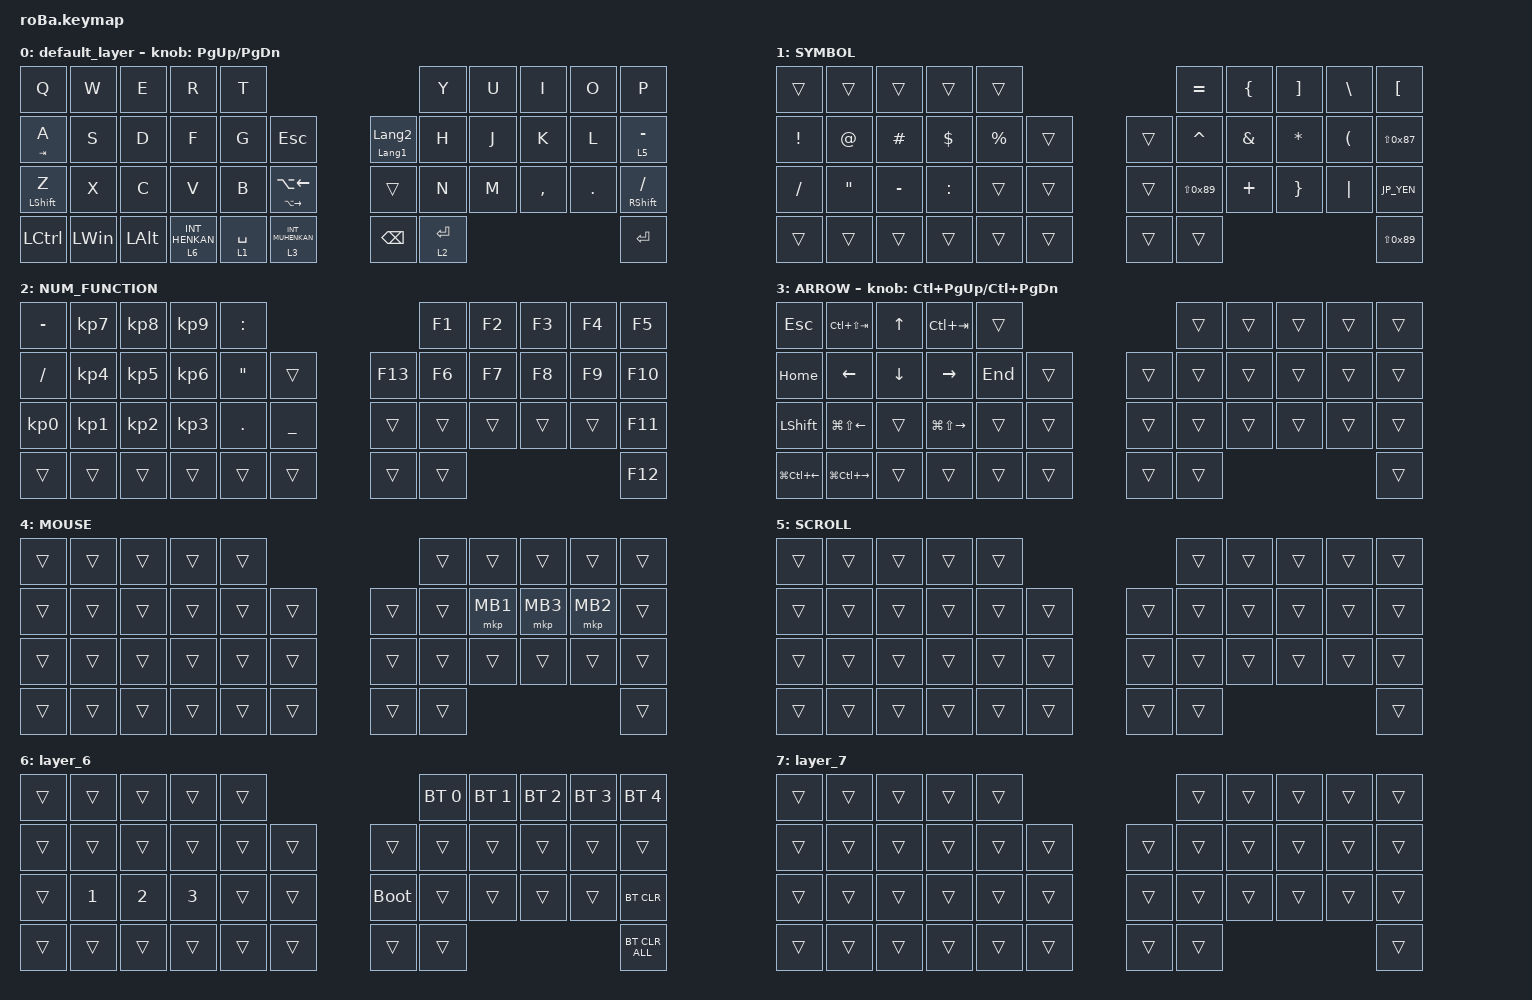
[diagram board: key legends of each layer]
#include <behaviors.dtsi>
#include <dt-bindings/zmk/bt.h>
#include <dt-bindings/zmk/keys.h>
#include <dt-bindings/zmk/pointing.h>

#define JP_DQUOTE       AT                // "
#define JP_AMPERSAND    CARET             // &
#define JP_QUOTE        AMPERSAND         // '
#define JP_EQUAL        UNDER             // =
#define JP_CARET        EQUAL             // ^
#define JP_YEN          0x89              // ¥
#define JP_PLUS         COLON             // +
#define JP_TILDE        PLUS              // ~
#define JP_PIPE         LS(0x89)          // |
#define JP_AT           LEFT_BRACKET      // @
#define JP_COLON        SINGLE_QUOTE      // :
#define JP_ASTERISK     DOUBLE_QUOTES     // *
#define JP_BACKQUOTE    LEFT_BRACE        // `
#define JP_UNDERSCORE   LS(0x87)          // _
#define JP_LBRACKET     RIGHT_BRACKET     // [
#define JP_RBRACKET     BACKSLASH         // ]
#define JP_LPAREN       ASTERISK          // (
#define JP_RPAREN       LEFT_PARENTHESIS  // )
#define JP_LBRACE       RIGHT_BRACE       // {
#define JP_RBRACE       PIPE              // }
#define JP_KANA         LANGUAGE_1        // かな
#define JP_EISU         LANGUAGE_2        // 英数
#define JP_HANZEN       GRAVE             // 半角/全角

&mt {
    flavor = "balanced";
    quick-tap-ms = <0>;
    require-prior-idle-ms = <200>;
    tapping-term-ms = <250>;
};

&trackball {
    automouse-layer = <4>;
    scroll-layers = <5>;

    // arrows {
    //     layers = <3>;
    //     bindings =
    //         <&kp RIGHT_ARROW>,
    //         <&kp LEFT_ARROW>,
    //         <&kp UP_ARROW>,
    //         <&kp DOWN_ARROW>;
    //     tick = <10>;
    //     wait-ms = <5>;
    //     tap-ms = <5>;
    // };
};

/ {
    combos {
        compatible = "zmk,combos";

        shift_tab {
            bindings = <&kp BACKSPACE>;
            key-positions = <12 13>;
        };

        escape {
            bindings = <&kp ESCAPE>;
            key-positions = <1 2>;
        };

        Delete {
            bindings = <&kp DELETE>;
            key-positions = <18 19>;
        };

        ABC {
            bindings = <&kp LANGUAGE_2>;
            key-positions = <23 24>;
        };

        JAPANESE {
            bindings = <&kp LANGUAGE_1>;
            key-positions = <31 32>;
        };
    };

    macros {
        to_layer_0: to_layer_0 {
            compatible = "zmk,behavior-macro-one-param";
            #binding-cells = <1>;
            bindings = <&to 0 &macro_param_1to1 &kp MACRO_PLACEHOLDER>;
            label = "TO_LAYER_0";
        };
    };

    behaviors {
        lt_to_layer_0: lt_to_layer_0 {
            compatible = "zmk,behavior-hold-tap";
            label = "LAYER_TAP_TO_0";
            bindings = <&mo>, <&to_layer_0>;

            #binding-cells = <2>;
            tapping-term-ms = <200>;
        };
    };

    keymap {
        compatible = "zmk,keymap";

        default_layer {
            bindings = <
&kp Q             &kp W         &kp E         &kp R                        &kp T                                                                      &kp Y        &kp U  &kp I      &kp O    &kp P
&mt TAB A         &kp S         &kp D         &kp F                        &kp G        &kp ESCAPE                         &mt LANGUAGE_1 LANGUAGE_2  &kp H        &kp J  &kp K      &kp L    &lt 5 MINUS
&mt LEFT_SHIFT Z  &kp X         &kp C         &kp V                        &kp B        &mt LA(RIGHT) LA(LEFT)             &trans                     &kp N        &kp M  &kp COMMA  &kp DOT  &mt RIGHT_SHIFT SLASH
&kp LCTRL         &kp LEFT_WIN  &kp LEFT_ALT  &lt_to_layer_0 6 INT_HENKAN  &lt 1 SPACE  &lt_to_layer_0 3 INT_MUHENKAN      &kp BACKSPACE              &lt 2 ENTER                             &kp ENTER
            >;

            sensor-bindings = <&inc_dec_kp PG_UP PAGE_DOWN>;
        };

        SYMBOL {
            bindings = <
&trans           &trans             &trans     &trans      &trans                           &kp EQUAL    &kp LEFT_BRACE  &kp RIGHT_BRACKET  &kp BACKSLASH         &kp LEFT_BRACKET
&kp EXCLAMATION  &kp AT             &kp HASH   &kp DOLLAR  &kp PERCENT  &trans      &trans  &kp CARET    &kp AMPERSAND   &kp ASTRK          &kp LEFT_PARENTHESIS  &kp JP_UNDERSCORE
&kp SLASH        &kp DOUBLE_QUOTES  &kp MINUS  &kp COLON   &trans       &trans      &trans  &kp JP_PIPE  &kp PLUS        &kp RIGHT_BRACE    &kp PIPE              &kp JP_YEN
&trans           &trans             &trans     &trans      &trans       &trans      &trans  &trans                                                                &kp JP_PIPE
            >;
        };

        NUM_FUNCTION {
            bindings = <
&kp MINUS        &kp KP_NUMBER_7  &kp KP_NUMBER_8  &kp KP_NUMBER_9  &kp COLON                                  &kp F1  &kp F2  &kp F3  &kp F4  &kp F5
&kp SLASH        &kp KP_NUMBER_4  &kp KP_NUMBER_5  &kp KP_NUMBER_6  &kp DOUBLE_QUOTES  &trans         &kp F13  &kp F6  &kp F7  &kp F8  &kp F9  &kp F10
&kp KP_NUMBER_0  &kp KP_NUMBER_1  &kp KP_NUMBER_2  &kp KP_NUMBER_3  &kp PERIOD         &kp UNDER      &trans   &trans  &trans  &trans  &trans  &kp F11
&trans           &trans           &trans           &trans           &trans             &trans         &trans   &trans                          &kp F12
            >;
        };

        ARROW {
            bindings = <
&kp ESCAPE        &kp LC(LS(TAB))         &kp UP_ARROW    &kp LC(TAB)              &trans                       &trans  &trans  &trans  &trans  &trans
&kp HOME          &kp LEFT_ARROW          &kp DOWN_ARROW  &kp RIGHT_ARROW          &kp END  &trans      &trans  &trans  &trans  &trans  &trans  &trans
&kp LEFT_SHIFT    &kp LG(LS(LEFT_ARROW))  &trans          &kp LG(LS(RIGHT_ARROW))  &trans   &trans      &trans  &trans  &trans  &trans  &trans  &trans
&kp LG(LC(LEFT))  &kp LG(LC(RIGHT))       &trans          &trans                   &trans   &trans      &trans  &trans                          &trans
            >;

            sensor-bindings = <&inc_dec_kp LC(PAGE_UP) LC(PAGE_DOWN)>;
        };

        MOUSE {
            bindings = <
&trans  &trans  &trans  &trans  &trans                      &trans  &trans    &trans    &trans    &trans
&trans  &trans  &trans  &trans  &trans  &trans      &trans  &trans  &mkp MB1  &mkp MB3  &mkp MB2  &trans
&trans  &trans  &trans  &trans  &trans  &trans      &trans  &trans  &trans    &trans    &trans    &trans
&trans  &trans  &trans  &trans  &trans  &trans      &trans  &trans                                &trans
            >;
        };

        SCROLL {
            bindings = <
&trans  &trans  &trans  &trans  &trans                      &trans  &trans  &trans  &trans  &trans
&trans  &trans  &trans  &trans  &trans  &trans      &trans  &trans  &trans  &trans  &trans  &trans
&trans  &trans  &trans  &trans  &trans  &trans      &trans  &trans  &trans  &trans  &trans  &trans
&trans  &trans  &trans  &trans  &trans  &trans      &trans  &trans                          &trans
            >;
        };

        layer_6 {
            bindings = <
&trans  &trans        &trans        &trans        &trans                           &bt BT_SEL 0  &bt BT_SEL 1  &bt BT_SEL 2  &bt BT_SEL 3  &bt BT_SEL 4
&trans  &trans        &trans        &trans        &trans  &trans      &trans       &trans        &trans        &trans        &trans        &trans
&trans  &kp NUMBER_1  &kp NUMBER_2  &kp NUMBER_3  &trans  &trans      &bootloader  &trans        &trans        &trans        &trans        &bt BT_CLR
&trans  &trans        &trans        &trans        &trans  &trans      &trans       &trans                                                  &bt BT_CLR_ALL
            >;
        };

        layer_7 {
            bindings = <
&trans  &trans  &trans  &trans  &trans                      &trans  &trans  &trans  &trans  &trans
&trans  &trans  &trans  &trans  &trans  &trans      &trans  &trans  &trans  &trans  &trans  &trans
&trans  &trans  &trans  &trans  &trans  &trans      &trans  &trans  &trans  &trans  &trans  &trans
&trans  &trans  &trans  &trans  &trans  &trans      &trans  &trans                          &trans
            >;
        };
    };
};
